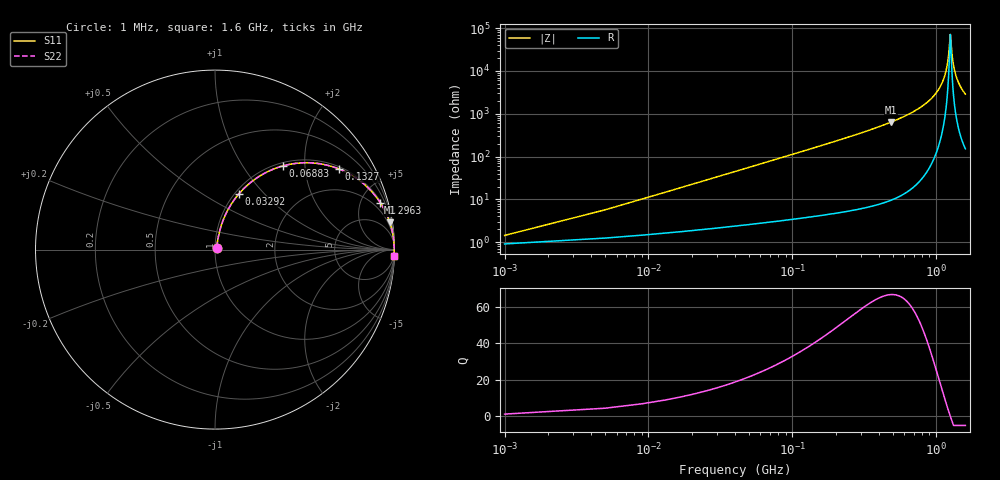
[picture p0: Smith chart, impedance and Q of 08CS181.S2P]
! Coilcraft 0805CS-181 Chip Inductor
! 11 June 2002
# MHZ S MA R 50
!Freq  MagS11  AngS11  MagS21  AngS21  MagS12  AngS12  MagS22  AngS22
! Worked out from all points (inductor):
!   402 points, 1 MHz to 1.6 GHz, reference 50 ohm
!   read as one part in series: L = 178 nH near 8.98 MHz
!   highest Q = 66.7 at 487.8 MHz (marker M1), where L = 210 nH
!   self-resonance near 1.254 GHz
!   S11 on the Smith chart (normalised r, x): 1 MHz: 1.02, +0.02; 32.92 MHz: 1.04, +0.74; 68.83 MHz: 1.06, +1.54; 132.7 MHz: 1.08, +3.00; 296.3 MHz: 1.12, +7.02; 1.6 GHz: 4, -58
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1  0.01432 50.1  0.9909 -0.6  0.9909 -0.6  0.01432 50.1
12.97  0.1422 75.5  0.9741 -8.1  0.9741 -8.1  0.1422 75.5
20.95  0.2249 72.4  0.9564 -13.0  0.9564 -13.0  0.2249 72.4
32.92  0.3397 66.7  0.9203 -19.8  0.9203 -19.8  0.3397 66.7
68.83  0.6005 50.9  0.7772 -36.9  0.7772 -36.9  0.6005 50.9
132.67  0.8225 33.2  0.5479 -55.3  0.5479 -55.3  0.8225 33.2
188.53  0.9 24.6  0.4171 -64.1  0.4171 -64.1  0.9 24.6
268.33  0.9481 17.5  0.3015 -71.4  0.3015 -71.4  0.9481 17.5
296.26  0.9574 15.8  0.2729 -73.2  0.2729 -73.2  0.9574 15.8
487.78  0.9859 8.8  0.1535 -80.3  0.1535 -80.3  0.9859 8.8
535.66  0.9888 7.8  0.1351 -81.4  0.1351 -81.4  0.9888 7.8
802.99  0.9965 3.8  0.06572 -85.0  0.06572 -85.0  0.9965 3.8
1070.32  0.9984 1.3  0.02302 -85.5  0.02302 -85.5  0.9984 1.3
1138.15  0.9986 0.8  0.01424 -83.9  0.01424 -83.9  0.9986 0.8
1186.03  0.9986 0.5  0.008423 -80.3  0.008423 -80.3  0.9986 0.5
1217.95  0.9986 0.3  0.004742 -73.0  0.004742 -73.0  0.9986 0.3
1249.87  0.9986 0.0  0.001642 -31.8  0.001642 -31.8  0.9986 0.0
1257.85  0.9986 -0.0  0.001402 1.5  0.001402 1.5  0.9986 -0.0
1297.75  0.9986 -0.3  0.004697 71.9  0.004697 71.9  0.9986 -0.3
1333.66  0.9985 -0.5  0.008479 79.5  0.008479 79.5  0.9985 -0.5
1437.4  0.9982 -1.1  0.0191 84.1  0.0191 84.1  0.9982 -1.1
1600  0.9976 -2.0  0.03454 85.0  0.03454 85.0  0.9976 -2.0
